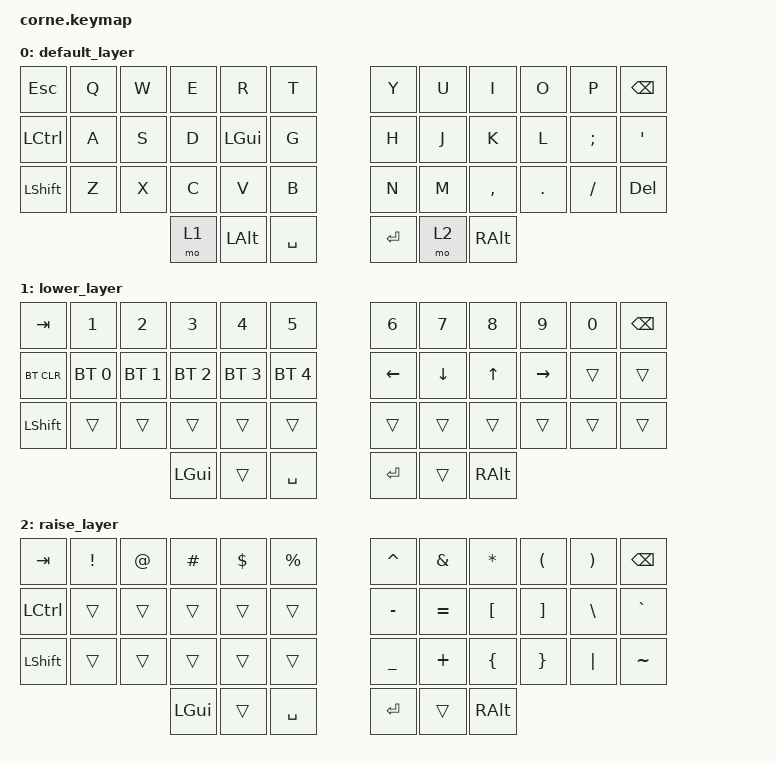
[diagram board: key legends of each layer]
/*
 * Copyright (c) 2020 The ZMK Contributors
 *
 * SPDX-License-Identifier: MIT
 */

#include <behaviors.dtsi>
#include <dt-bindings/zmk/bt.h>
#include <dt-bindings/zmk/keys.h>

/ {
    behaviors {
        hml: homewrow_mods_left {
            compatible = "zmk,behavior-hold-tap";
            label = "HOMEROW_MODS_LEFT_HAND";
            bindings = <&kp>, <&kp>;

            #binding-cells = <2>;
            tapping-term-ms = <200>;
            retro-tap;
            hold-trigger-key-positions = <6 7 8 9 10 11 18 19 20 21 22 23 30 31 32 33 34 35 39 40 41>;
        };

        hmr: homewrow_mods_right {
            compatible = "zmk,behavior-hold-tap";
            label = "HOMEROW_MODS_RIGHT_HAND";
            bindings = <&kp>, <&kp>;

            #binding-cells = <2>;
            retro-tap;
            hold-trigger-key-positions = <0 1 2 3 4 5 12 13 14 15 16 17 24 25 26 27 28 29 36 37 38>;
            tapping-term-ms = <200>;
        };
    };

    keymap {
        compatible = "zmk,keymap";

        default_layer {
            // -----------------------------------------------------------------------------------------
            // |  TAB |  Q  |  W  |  E  |  R  |  T  |   |  Y  |  U   |  I  |  O  |  P  | BSPC |
            // | CTRL |  A  |  S  |  D  |  F  |  G  |   |  H  |  J   |  K  |  L  |  ;  |  '   |
            // | SHFT |  Z  |  X  |  C  |  V  |  B  |   |  N  |  M   |  ,  |  .  |  /  | ESC  |
            //                    | GUI | LWR | SPC |   | ENT | RSE  | ALT |

            bindings = <
&kp ESCAPE  &kp Q  &kp W  &kp E  &kp R         &kp T        &kp Y    &kp U  &kp I      &kp O    &kp P     &kp BSPC
&kp LCTRL   &kp A  &kp S  &kp D  &kp LEFT_GUI  &kp G        &kp H    &kp J  &kp K      &kp L    &kp SEMI  &kp SQT
&kp LSHFT   &kp Z  &kp X  &kp C  &kp V         &kp B        &kp N    &kp M  &kp COMMA  &kp DOT  &kp FSLH  &kp DELETE
                          &mo 1  &kp LEFT_ALT  &kp SPACE    &kp RET  &mo 2  &kp RALT
            >;
        };

        lower_layer {
            // -----------------------------------------------------------------------------------------
            // |  TAB |  1  |  2  |  3  |  4  |  5  |   |  6  |  7  |  8  |  9  |  0  | BSPC |
            // | BTCLR| BT1 | BT2 | BT3 | BT4 | BT5 |   | LFT | DWN |  UP | RGT |     |      |
            // | SHFT |     |     |     |     |     |   |     |     |     |     |     |      |
            //                    | GUI |     | SPC |   | ENT |     | ALT |

            bindings = <
&kp TAB     &kp N1        &kp N2        &kp N3        &kp N4        &kp N5          &kp N6    &kp N7    &kp N8    &kp N9     &kp N0  &kp BSPC
&bt BT_CLR  &bt BT_SEL 0  &bt BT_SEL 1  &bt BT_SEL 2  &bt BT_SEL 3  &bt BT_SEL 4    &kp LEFT  &kp DOWN  &kp UP    &kp RIGHT  &trans  &trans
&kp LSHFT   &trans        &trans        &trans        &trans        &trans          &trans    &trans    &trans    &trans     &trans  &trans
                                        &kp LGUI      &trans        &kp SPACE       &kp RET   &trans    &kp RALT
            >;
        };

        raise_layer {
            // -----------------------------------------------------------------------------------------
            // |  TAB |  !  |  @  |  #  |  $  |  %  |   |  ^  |  &  |  *  |  (  |  )  | BSPC |
            // | CTRL |     |     |     |     |     |   |  -  |  =  |  [  |  ]  |  \  |  `   |
            // | SHFT |     |     |     |     |     |   |  _  |  +  |  {  |  }  | "|" |  ~   |
            //                    | GUI |     | SPC |   | ENT |     | ALT |

            bindings = <
&kp TAB    &kp EXCL  &kp AT  &kp HASH  &kp DLLR  &kp PRCNT    &kp CARET  &kp AMPS   &kp ASTRK  &kp LPAR  &kp RPAR  &kp BSPC
&kp LCTRL  &trans    &trans  &trans    &trans    &trans       &kp MINUS  &kp EQUAL  &kp LBKT   &kp RBKT  &kp BSLH  &kp GRAVE
&kp LSHFT  &trans    &trans  &trans    &trans    &trans       &kp UNDER  &kp PLUS   &kp LBRC   &kp RBRC  &kp PIPE  &kp TILDE
                             &kp LGUI  &trans    &kp SPACE    &kp RET    &trans     &kp RALT
            >;
        };
    };
};
